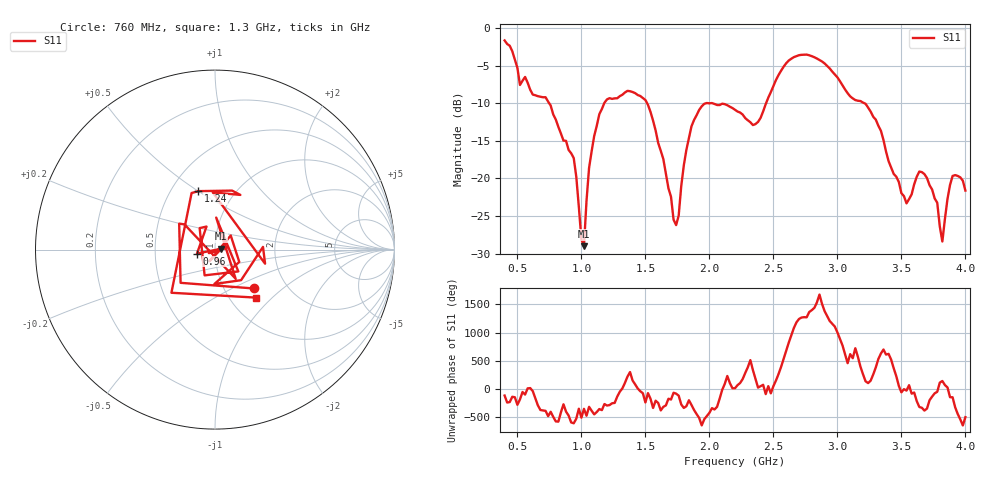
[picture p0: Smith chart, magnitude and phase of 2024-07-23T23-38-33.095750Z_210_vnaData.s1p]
!Created with skrf (http://scikit-rf.org).
# Hz S RI R 50.0
!freq ReS11 ImS11
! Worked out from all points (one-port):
!   181 points, 400 MHz to 4 GHz, reference 50 ohm
!   lowest |S11| = -29.0 dB at 1.02 GHz (marker M1), VSWR 1.07, Z = 53.6 + j0.472 ohm
!   |S11| at or under -10 dB: 748.6 MHz to 1.178 GHz (429.6 MHz wide, 44.6 % of centre); 1.514 GHz to 1.973 GHz (458.7 MHz wide, 26.3 % of centre); 3.212 GHz to end of sweep (the widest 3 of 5)
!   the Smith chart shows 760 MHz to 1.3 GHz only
!   S11 on the Smith chart (normalised r, x): 760 MHz: 1.37, -0.65; 960 MHz: 0.82, -0.04; 1.24 GHz: 0.68, +0.50; 1.3 GHz: 1.32, -0.81
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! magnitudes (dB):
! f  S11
! 400 MHz  -1.6
! 520 MHz  -7.6
! 760 MHz  -10.3
! 860 MHz  -15.0
! 960 MHz  -19.8
! 1 GHz  -28.1
! 1.02 GHz  -29.0
! 1.06 GHz  -18.6
! 1.1 GHz  -14.3
! 1.24 GHz  -9.4
! 1.3 GHz  -9.0
! 1.52 GHz  -10.2
! 1.72 GHz  -25.5
! 1.76 GHz  -25.0
! 1.82 GHz  -16.2
! 1.92 GHz  -10.9
! 2.2 GHz  -10.9
! 2.38 GHz  -12.5
! 2.66 GHz  -3.9
! 2.88 GHz  -4.4
! 3.1 GHz  -9.1
! 3.3 GHz  -12.2
! 3.56 GHz  -22.7
! 3.68 GHz  -19.4
! 3.78 GHz  -23.2
! 3.82 GHz  -28.4
! 3.9 GHz  -19.7
! 4 GHz  -21.6
